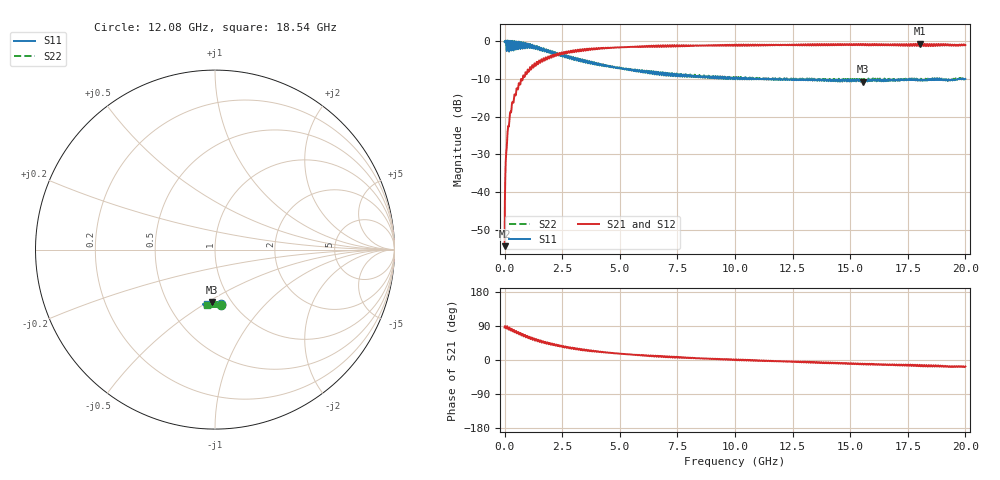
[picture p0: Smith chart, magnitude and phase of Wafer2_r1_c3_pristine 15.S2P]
!  2-Port S-parameters saved by WinCal
! VAR MeasName=S-Parameters (CALIBRATED_DATA) read from VNA (P5004A)
! VAR MeasDate=24/04/2024 16:17:29
! VAR NAME=Wafer2_r1_c3_pristine 15
! VAR FILENAME=Wafer2_r1_c3_pristine 15.S2P
! VAR DATE=24/04/2024 16:17:29
! VAR PHYS_PORTS=1,2
! VAR ObjTypeName=DATASET
! VAR IndexType=Frequency
# Hz S MA R 50
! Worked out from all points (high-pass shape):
!   4999 points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, 4.01 MHz to 20 GHz, reference 50 ohm
!   highest |S21| = -0.64 dB at 18.04 GHz (marker M1); lowest = -54.4 dB at 4.01 MHz (marker M2)
!   |S21| within 3 dB of the highest: 2.251 GHz to 2.322 GHz (70.11 MHz wide, 3.07 % of centre); 2.337 GHz to end of sweep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
!   lowest |S11| = -10.7 dB at 15.56 GHz (marker M3), VSWR 1.83, Z = 40.6 - j26 ohm
!   |S11| at or under -10 dB: 11.82 GHz to 11.91 GHz (91.12 MHz wide, 0.768 % of centre); 11.91 GHz to 18.46 GHz (6.542 GHz wide, 43.1 % of centre); 18.97 GHz to 19.69 GHz (713.6 MHz wide, 3.69 % of centre)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
!   |S22| runs from -10.7 to 0.2 dB; largest |S21 - S12| = 0.015
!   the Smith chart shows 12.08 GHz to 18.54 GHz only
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4009798  0.9879 -3.1  0.001906 86.0  0.001925 85.8  0.9876 -3.0
7.602417e7  0.9001 -2.4  0.03338 83.5  0.03361 84.4  0.9128 -2.4
1.080306e8  0.791 -5.1  0.04463 87.5  0.04596 87.0  0.8211 -4.4
1.400369e8  1.025 -4.0  0.06657 84.3  0.06619 84.2  1.019 -4.2
1.840457e8  0.768 -2.9  0.0744 81.5  0.07667 82.3  0.7953 -3.5
2.480585e8  0.9944 -8.6  0.114 79.3  0.1129 79.5  1.003 -8.3
3.480785e8  0.979 -11.6  0.1563 76.2  0.1554 76.3  0.9777 -11.3
4.921072e8  0.7833 -11.1  0.1975 76.0  0.2012 75.7  0.8067 -11.5
6.281343e8  0.9734 -19.0  0.2773 68.2  0.2766 68.2  0.9736 -18.7
8.121711e8  0.9631 -22.1  0.3528 65.3  0.3539 65.2  0.9681 -21.7
1.032215e9  0.8777 -29.1  0.4048 57.5  0.4058 57.6  0.8793 -28.8
1.552319e9  0.7653 -35.5  0.5233 50.8  0.5244 50.5  0.7628 -35.1
2.436495e9  0.6397 -47.5  0.6707 37.5  0.67 37.5  0.6403 -46.7
3.340676e9  0.5481 -55.1  0.7563 28.9  0.7559 28.9  0.5472 -54.0
4.752957e9  0.4548 -65.4  0.8234 18.1  0.8246 18.1  0.4558 -64.3
6.673341e9  0.3935 -72.1  0.8853 9.9  0.8847 9.5  0.3898 -70.1
1.0002e10  0.3174 -82.3  0.879 -0.2  0.8739 -0.2  0.3188 -79.5
1.333467e10  0.3127 -85.8  0.8909 -4.9  0.8891 -4.7  0.3203 -83.0
1.555911e10  0.2931 -93.8  0.9245 -10.7  0.9201 -10.3  0.2946 -90.7
1.667134e10  0.2991 -96.9  0.9012 -13.6  0.8982 -12.7  0.3114 -93.0
1.803561e10  0.304 -96.0  0.9286 -14.6  0.9313 -15.2  0.302 -97.1
2e10  0.317 -97.4  0.892 -17.0  0.895 -17.0  0.3182 -95.5
